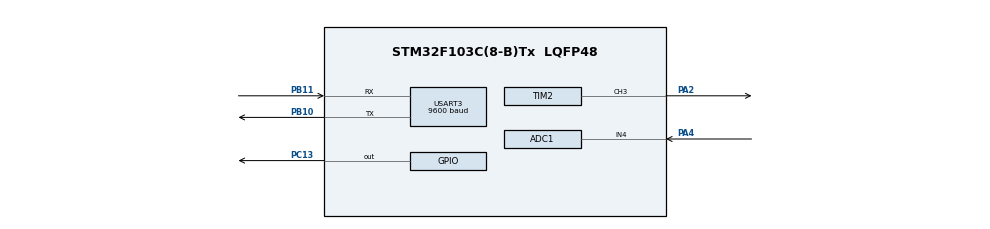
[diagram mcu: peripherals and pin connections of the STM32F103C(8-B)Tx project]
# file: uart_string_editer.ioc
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ADC1.Channel-0\#ChannelRegularConversion=ADC_CHANNEL_4
ADC1.ContinuousConvMode=ENABLE
ADC1.NbrOfConversionFlag=1
ADC1.Rank-0\#ChannelRegularConversion=1
ADC1.SamplingTime-0\#ChannelRegularConversion=ADC_SAMPLETIME_1CYCLE_5
ADC1.master=1
Mcu.Family=STM32F1
Mcu.Name=STM32F103C(8-B)Tx
Mcu.Package=LQFP48
NVIC.PriorityGroup=NVIC_PRIORITYGROUP_4
PA13.Mode=Serial_Wire
PA13.Signal=SYS_JTMS-SWDIO
PA14.Mode=Serial_Wire
PA14.Signal=SYS_JTCK-SWCLK
PA2.Signal=S_TIM2_CH3
PA4.Signal=ADCx_IN4
PB10.Mode=Asynchronous
PB10.Signal=USART3_TX
PB11.Mode=Asynchronous
PB11.Signal=USART3_RX
PC13-TAMPER-RTC.Signal=GPIO_Output
ProjectManager.HeapSize=0x200
ProjectManager.StackSize=0x400
ProjectManager.TargetToolchain=STM32CubeIDE
RCC.APB1Freq_Value=8000000
RCC.APB2Freq_Value=8000000
SH.ADCx_IN4.0=ADC1_IN4,IN4
SH.S_TIM2_CH3.0=TIM2_CH3,PWM Generation3 CH3
TIM2.Channel-PWM\ Generation3\ CH3=TIM_CHANNEL_3
TIM2.Period=625
TIM2.Prescaler=127
USART3.BaudRate=9600
USART3.VirtualMode=VM_ASYNC
VP_TIM2_VS_ClockSourceINT.Mode=Internal
board=custom

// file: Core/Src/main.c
/* USER CODE BEGIN Header */
/**
  ******************************************************************************
  * @file           : main.c
  * @brief          : Main program body
  ******************************************************************************
  * @attention
  *
  * Copyright (c) 2024 STMicroelectronics.
  * All rights reserved.
  *
  * This software is licensed under terms that can be found in the LICENSE file
  * in the root directory of this software component.
  * If no LICENSE file comes with this software, it is provided AS-IS.
  *
  ******************************************************************************
  */
/* USER CODE END Header */
#include "main.h"

ADC_HandleTypeDef hadc1;

TIM_HandleTypeDef htim2;

UART_HandleTypeDef huart3;

void SystemClock_Config(void);
static void MX_GPIO_Init(void);
static void MX_ADC1_Init(void);
static void MX_USART3_UART_Init(void);
static void MX_TIM2_Init(void);

/* USER CODE BEGIN 0 */
#include "string.h"
#include "stdio.h"
uint8_t receivedData[4];
uint8_t duzenliveri[4];
uint16_t readValue;
uint8_t basamaksayisi = 0;
int sonuc = 0;
/* USER CODE END 0 */

int main(void)
{

  /* MCU Configuration--------------------------------------------------------*/

  /* Reset of all peripherals, Initializes the Flash interface and the Systick. */
  HAL_Init();

  /* Configure the system clock */
  SystemClock_Config();

  /* Initialize all configured peripherals */
  MX_GPIO_Init();
  MX_ADC1_Init();
  MX_USART3_UART_Init();
  MX_TIM2_Init();
  /* USER CODE BEGIN 2 */
  HAL_ADC_Start(&hadc1);
  HAL_TIM_PWM_Start(&htim2, TIM_CHANNEL_3);
  HAL_GPIO_WritePin(GPIOC, GPIO_PIN_13, GPIO_PIN_SET);
  /* USER CODE END 2 */

  /* Infinite loop */
  /* USER CODE BEGIN WHILE */
  while (1)
  {
	  HAL_ADC_PollForConversion(&hadc1,1000);
	  readValue = HAL_ADC_GetValue(&hadc1);
	  //sprintf(receivedData, "%d\n", readValue);

	  HAL_UART_Receive(&huart3, receivedData, 4, 100);
	  basamaksayisi = 0;
	  for(int x = 0; x < sizeof(receivedData); x++)
	 {
		  if(receivedData[x] > 47 && duzenliveri[x] < 59)
		  {
			  basamaksayisi++;
			  HAL_GPIO_WritePin(GPIOC, GPIO_PIN_13, GPIO_PIN_RESET);
		  }
		  else
		  {
			  HAL_GPIO_WritePin(GPIOC, GPIO_PIN_13, GPIO_PIN_SET);
		  }
	 }
	  sonuc=0;
	for(int x = 0; x < sizeof(receivedData); x++)
	{
		int katsayi = 1;
		for(int y = 1; y < basamaksayisi-x; y++)
		{
			katsayi *= 10;
		}
		sonuc += (receivedData[x] - 48)*(katsayi);
	}

	__HAL_TIM_SET_COMPARE(&htim2,TIM_CHANNEL_3, (sonuc*0.4));
    /* USER CODE END WHILE */

  }
}

void SystemClock_Config(void)
{
  RCC_OscInitTypeDef RCC_OscInitStruct = {0};
  RCC_ClkInitTypeDef RCC_ClkInitStruct = {0};
  RCC_PeriphCLKInitTypeDef PeriphClkInit = {0};

  /** Initializes the RCC Oscillators according to the specified parameters
  * in the RCC_OscInitTypeDef structure.
  */
  RCC_OscInitStruct.OscillatorType = RCC_OSCILLATORTYPE_HSI;
  RCC_OscInitStruct.HSIState = RCC_HSI_ON;
  RCC_OscInitStruct.HSICalibrationValue = RCC_HSICALIBRATION_DEFAULT;
  RCC_OscInitStruct.PLL.PLLState = RCC_PLL_NONE;
  if (HAL_RCC_OscConfig(&RCC_OscInitStruct) != HAL_OK)
  {
    Error_Handler();
  }

  /** Initializes the CPU, AHB and APB buses clocks
  */
  RCC_ClkInitStruct.ClockType = RCC_CLOCKTYPE_HCLK|RCC_CLOCKTYPE_SYSCLK
                              |RCC_CLOCKTYPE_PCLK1|RCC_CLOCKTYPE_PCLK2;
  RCC_ClkInitStruct.SYSCLKSource = RCC_SYSCLKSOURCE_HSI;
  RCC_ClkInitStruct.AHBCLKDivider = RCC_SYSCLK_DIV1;
  RCC_ClkInitStruct.APB1CLKDivider = RCC_HCLK_DIV1;
  RCC_ClkInitStruct.APB2CLKDivider = RCC_HCLK_DIV1;

  if (HAL_RCC_ClockConfig(&RCC_ClkInitStruct, FLASH_LATENCY_0) != HAL_OK)
  {
    Error_Handler();
  }
  PeriphClkInit.PeriphClockSelection = RCC_PERIPHCLK_ADC;
  PeriphClkInit.AdcClockSelection = RCC_ADCPCLK2_DIV2;
  if (HAL_RCCEx_PeriphCLKConfig(&PeriphClkInit) != HAL_OK)
  {
    Error_Handler();
  }
}

static void MX_ADC1_Init(void)
{

  ADC_ChannelConfTypeDef sConfig = {0};

  /** Common config
  */
  hadc1.Instance = ADC1;
  hadc1.Init.ScanConvMode = ADC_SCAN_DISABLE;
  hadc1.Init.ContinuousConvMode = ENABLE;
  hadc1.Init.DiscontinuousConvMode = DISABLE;
  hadc1.Init.ExternalTrigConv = ADC_SOFTWARE_START;
  hadc1.Init.DataAlign = ADC_DATAALIGN_RIGHT;
  hadc1.Init.NbrOfConversion = 1;
  if (HAL_ADC_Init(&hadc1) != HAL_OK)
  {
    Error_Handler();
  }

  /** Configure Regular Channel
  */
  sConfig.Channel = ADC_CHANNEL_4;
  sConfig.Rank = ADC_REGULAR_RANK_1;
  sConfig.SamplingTime = ADC_SAMPLETIME_1CYCLE_5;
  if (HAL_ADC_ConfigChannel(&hadc1, &sConfig) != HAL_OK)
  {
    Error_Handler();
  }

}

static void MX_TIM2_Init(void)
{

  TIM_ClockConfigTypeDef sClockSourceConfig = {0};
  TIM_MasterConfigTypeDef sMasterConfig = {0};
  TIM_OC_InitTypeDef sConfigOC = {0};

  htim2.Instance = TIM2;
  htim2.Init.Prescaler = 127;
  htim2.Init.CounterMode = TIM_COUNTERMODE_UP;
  htim2.Init.Period = 625;
  htim2.Init.ClockDivision = TIM_CLOCKDIVISION_DIV1;
  htim2.Init.AutoReloadPreload = TIM_AUTORELOAD_PRELOAD_DISABLE;
  if (HAL_TIM_Base_Init(&htim2) != HAL_OK)
  {
    Error_Handler();
  }
  sClockSourceConfig.ClockSource = TIM_CLOCKSOURCE_INTERNAL;
  if (HAL_TIM_ConfigClockSource(&htim2, &sClockSourceConfig) != HAL_OK)
  {
    Error_Handler();
  }
  if (HAL_TIM_PWM_Init(&htim2) != HAL_OK)
  {
    Error_Handler();
  }
  sMasterConfig.MasterOutputTrigger = TIM_TRGO_RESET;
  sMasterConfig.MasterSlaveMode = TIM_MASTERSLAVEMODE_DISABLE;
  if (HAL_TIMEx_MasterConfigSynchronization(&htim2, &sMasterConfig) != HAL_OK)
  {
    Error_Handler();
  }
  sConfigOC.OCMode = TIM_OCMODE_PWM1;
  sConfigOC.Pulse = 0;
  sConfigOC.OCPolarity = TIM_OCPOLARITY_HIGH;
  sConfigOC.OCFastMode = TIM_OCFAST_DISABLE;
  if (HAL_TIM_PWM_ConfigChannel(&htim2, &sConfigOC, TIM_CHANNEL_3) != HAL_OK)
  {
    Error_Handler();
  }
  HAL_TIM_MspPostInit(&htim2);

}

static void MX_USART3_UART_Init(void)
{

  huart3.Instance = USART3;
  huart3.Init.BaudRate = 9600;
  huart3.Init.WordLength = UART_WORDLENGTH_8B;
  huart3.Init.StopBits = UART_STOPBITS_1;
  huart3.Init.Parity = UART_PARITY_NONE;
  huart3.Init.Mode = UART_MODE_TX_RX;
  huart3.Init.HwFlowCtl = UART_HWCONTROL_NONE;
  huart3.Init.OverSampling = UART_OVERSAMPLING_16;
  if (HAL_UART_Init(&huart3) != HAL_OK)
  {
    Error_Handler();
  }

}

static void MX_GPIO_Init(void)
{
  GPIO_InitTypeDef GPIO_InitStruct = {0};

  /* GPIO Ports Clock Enable */
  __HAL_RCC_GPIOC_CLK_ENABLE();
  __HAL_RCC_GPIOA_CLK_ENABLE();
  __HAL_RCC_GPIOB_CLK_ENABLE();

  /*Configure GPIO pin Output Level */
  HAL_GPIO_WritePin(GPIOC, GPIO_PIN_13, GPIO_PIN_RESET);

  /*Configure GPIO pin : PC13 */
  GPIO_InitStruct.Pin = GPIO_PIN_13;
  GPIO_InitStruct.Mode = GPIO_MODE_OUTPUT_PP;
  GPIO_InitStruct.Pull = GPIO_NOPULL;
  GPIO_InitStruct.Speed = GPIO_SPEED_FREQ_LOW;
  HAL_GPIO_Init(GPIOC, &GPIO_InitStruct);

}

void Error_Handler(void)
{
  __disable_irq();
  while (1)
  {
  }
}
